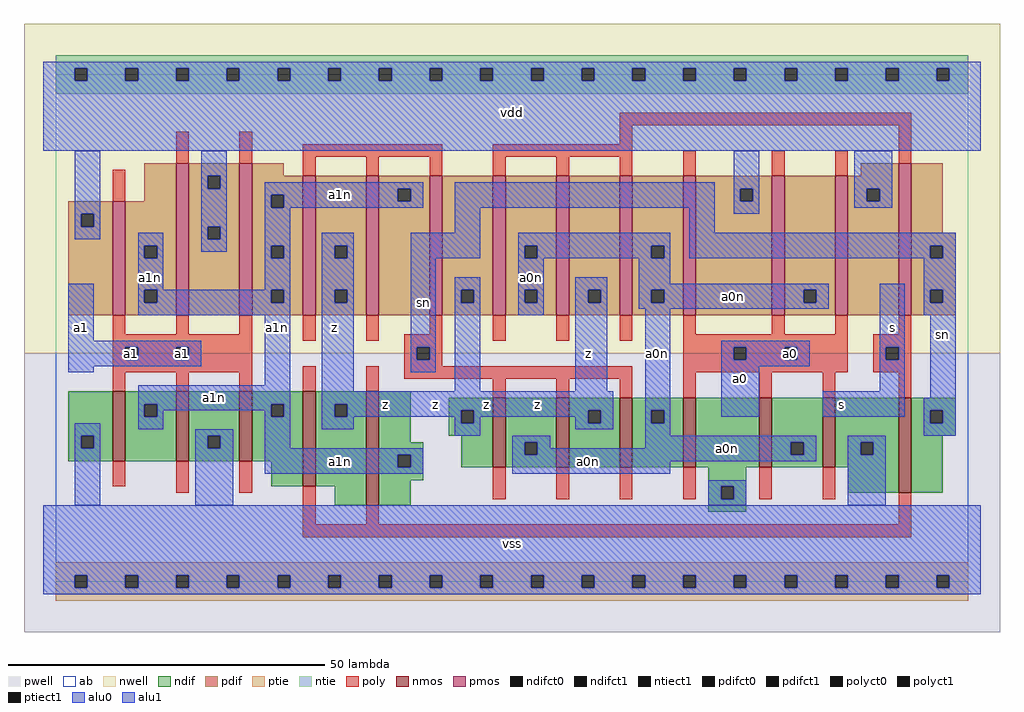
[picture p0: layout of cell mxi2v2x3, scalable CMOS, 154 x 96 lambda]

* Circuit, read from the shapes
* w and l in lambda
.subckt mxi2v2x3 a0 a0n a1 a1n s sn vdd vss z
M1 a1n a1 vss vss nfet w=11 l=2 m=3
M2 z s a1n vss nfet w=15 l=2
M3 a1n s z vss nfet w=18 l=2
M4 a0n sn z vss nfet w=11 l=2 m=3
M5 vss a0 a0n vss nfet w=11 l=2 m=3
M6 sn s vss vss nfet w=15 l=2
M7 a1n a1 vdd vdd pfet w=18 l=2
M8 vdd a1 a1n vdd pfet w=24 l=2 m=2
M9 z sn a1n vdd pfet w=22 l=2 m=3
M10 a0n s z vdd pfet w=22 l=2 m=3
M11 vdd a0 a0n vdd pfet w=22 l=2 m=3
M12 sn s vdd vdd pfet w=24 l=2
.ends

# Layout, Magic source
magic
tech scmos
<< ab >>
rect 0 0 144 80
<< nwell >>
rect -5 36 149 88
<< pwell >>
rect -5 -8 149 36
<< poly >>
rect 89 72 135 74
rect 19 66 21 71
rect 29 66 31 71
rect 89 69 91 72
rect 39 67 61 69
rect 9 60 11 65
rect 39 64 41 67
rect 49 64 51 67
rect 59 64 61 67
rect 69 67 91 69
rect 69 64 71 67
rect 79 64 81 67
rect 89 64 91 67
rect 99 64 101 68
rect 113 64 115 68
rect 123 64 125 68
rect 133 66 135 72
rect 9 39 11 42
rect 19 39 21 42
rect 29 39 31 42
rect 9 37 31 39
rect 39 38 41 42
rect 49 38 51 42
rect 59 39 61 42
rect 9 35 11 37
rect 13 35 19 37
rect 21 35 31 37
rect 9 33 31 35
rect 55 37 61 39
rect 69 38 71 42
rect 79 38 81 42
rect 89 38 91 42
rect 99 39 101 42
rect 113 39 115 42
rect 123 39 125 42
rect 133 39 135 42
rect 55 35 57 37
rect 59 35 61 37
rect 55 34 61 35
rect 99 37 125 39
rect 99 35 107 37
rect 109 35 115 37
rect 117 35 125 37
rect 9 30 11 33
rect 19 30 21 33
rect 29 30 31 33
rect 39 30 41 34
rect 49 30 51 34
rect 55 32 91 34
rect 9 15 11 19
rect 19 14 21 19
rect 29 14 31 19
rect 39 9 41 15
rect 69 29 71 32
rect 79 29 81 32
rect 89 29 91 32
rect 99 33 125 35
rect 129 37 135 39
rect 129 35 131 37
rect 133 35 135 37
rect 129 33 135 35
rect 99 29 101 33
rect 111 29 113 33
rect 121 29 123 33
rect 133 29 135 33
rect 69 13 71 18
rect 79 13 81 18
rect 89 13 91 18
rect 99 13 101 18
rect 111 13 113 18
rect 121 13 123 18
rect 49 9 51 12
rect 133 9 135 14
rect 39 7 135 9
<< ndif >>
rect 2 23 9 30
rect 2 21 4 23
rect 6 21 9 23
rect 2 19 9 21
rect 11 28 19 30
rect 11 26 14 28
rect 16 26 19 28
rect 11 19 19 26
rect 21 23 29 30
rect 21 21 24 23
rect 26 21 29 23
rect 21 19 29 21
rect 31 28 39 30
rect 31 26 34 28
rect 36 26 39 28
rect 31 19 39 26
rect 34 15 39 19
rect 41 28 49 30
rect 41 26 44 28
rect 46 26 49 28
rect 41 15 49 26
rect 44 12 49 15
rect 51 22 56 30
rect 62 27 69 29
rect 62 25 64 27
rect 66 25 69 27
rect 62 23 69 25
rect 51 20 58 22
rect 51 18 54 20
rect 56 18 58 20
rect 64 18 69 23
rect 71 22 79 29
rect 71 20 74 22
rect 76 20 79 22
rect 71 18 79 20
rect 81 27 89 29
rect 81 25 84 27
rect 86 25 89 27
rect 81 18 89 25
rect 91 27 99 29
rect 91 25 94 27
rect 96 25 99 27
rect 91 18 99 25
rect 101 18 111 29
rect 113 22 121 29
rect 113 20 116 22
rect 118 20 121 22
rect 113 18 121 20
rect 123 22 133 29
rect 123 20 127 22
rect 129 20 133 22
rect 123 18 133 20
rect 51 16 58 18
rect 51 12 56 16
rect 103 15 109 18
rect 103 13 105 15
rect 107 13 109 15
rect 125 14 133 18
rect 135 27 142 29
rect 135 25 138 27
rect 140 25 142 27
rect 135 23 142 25
rect 135 14 140 23
rect 103 11 109 13
<< pdif >>
rect 14 60 19 66
rect 2 58 9 60
rect 2 56 4 58
rect 6 56 9 58
rect 2 42 9 56
rect 11 53 19 60
rect 11 51 14 53
rect 16 51 19 53
rect 11 46 19 51
rect 11 44 14 46
rect 16 44 19 46
rect 11 42 19 44
rect 21 64 29 66
rect 21 62 24 64
rect 26 62 29 64
rect 21 56 29 62
rect 21 54 24 56
rect 26 54 29 56
rect 21 42 29 54
rect 31 64 36 66
rect 127 64 133 66
rect 31 61 39 64
rect 31 59 34 61
rect 36 59 39 61
rect 31 53 39 59
rect 31 51 34 53
rect 36 51 39 53
rect 31 46 39 51
rect 31 44 34 46
rect 36 44 39 46
rect 31 42 39 44
rect 41 53 49 64
rect 41 51 44 53
rect 46 51 49 53
rect 41 46 49 51
rect 41 44 44 46
rect 46 44 49 46
rect 41 42 49 44
rect 51 62 59 64
rect 51 60 54 62
rect 56 60 59 62
rect 51 42 59 60
rect 61 46 69 64
rect 61 44 64 46
rect 66 44 69 46
rect 61 42 69 44
rect 71 53 79 64
rect 71 51 74 53
rect 76 51 79 53
rect 71 46 79 51
rect 71 44 74 46
rect 76 44 79 46
rect 71 42 79 44
rect 81 46 89 64
rect 81 44 84 46
rect 86 44 89 46
rect 81 42 89 44
rect 91 53 99 64
rect 91 51 94 53
rect 96 51 99 53
rect 91 46 99 51
rect 91 44 94 46
rect 96 44 99 46
rect 91 42 99 44
rect 101 62 113 64
rect 101 60 108 62
rect 110 60 113 62
rect 101 42 113 60
rect 115 46 123 64
rect 115 44 118 46
rect 120 44 123 46
rect 115 42 123 44
rect 125 62 133 64
rect 125 60 128 62
rect 130 60 133 62
rect 125 42 133 60
rect 135 55 140 66
rect 135 53 142 55
rect 135 51 138 53
rect 140 51 142 53
rect 135 46 142 51
rect 135 44 138 46
rect 140 44 142 46
rect 135 42 142 44
<< alu1 >>
rect -2 81 146 82
rect -2 79 3 81
rect 5 79 11 81
rect 13 79 19 81
rect 21 79 27 81
rect 29 79 35 81
rect 37 79 43 81
rect 45 79 51 81
rect 53 79 59 81
rect 61 79 67 81
rect 69 79 75 81
rect 77 79 83 81
rect 85 79 91 81
rect 93 79 99 81
rect 101 79 107 81
rect 109 79 115 81
rect 117 79 123 81
rect 125 79 131 81
rect 133 79 139 81
rect 141 79 146 81
rect -2 68 146 79
rect 2 38 6 47
rect 2 37 23 38
rect 2 35 11 37
rect 13 35 19 37
rect 21 35 23 37
rect 2 34 23 35
rect 2 33 6 34
rect 42 53 47 55
rect 42 51 44 53
rect 46 51 47 53
rect 42 46 47 51
rect 42 44 44 46
rect 46 44 47 46
rect 42 30 47 44
rect 63 46 67 48
rect 63 44 64 46
rect 66 44 67 46
rect 63 30 67 44
rect 82 46 87 48
rect 82 44 84 46
rect 86 44 87 46
rect 82 30 87 44
rect 42 28 88 30
rect 42 26 44 28
rect 46 27 88 28
rect 46 26 64 27
rect 42 24 47 26
rect 63 25 64 26
rect 66 26 84 27
rect 66 25 67 26
rect 63 23 67 25
rect 82 25 84 26
rect 86 25 88 27
rect 82 24 88 25
rect 105 37 119 38
rect 105 35 107 37
rect 109 35 115 37
rect 117 35 119 37
rect 105 34 119 35
rect 130 37 134 47
rect 130 35 131 37
rect 133 35 134 37
rect 105 26 111 34
rect 130 30 134 35
rect 121 26 134 30
rect -2 1 146 12
rect -2 -1 3 1
rect 5 -1 11 1
rect 13 -1 19 1
rect 21 -1 27 1
rect 29 -1 35 1
rect 37 -1 43 1
rect 45 -1 51 1
rect 53 -1 59 1
rect 61 -1 67 1
rect 69 -1 75 1
rect 77 -1 83 1
rect 85 -1 91 1
rect 93 -1 99 1
rect 101 -1 107 1
rect 109 -1 115 1
rect 117 -1 123 1
rect 125 -1 131 1
rect 133 -1 139 1
rect 141 -1 146 1
rect -2 -2 146 -1
<< ptie >>
rect 0 1 144 3
rect 0 -1 3 1
rect 5 -1 11 1
rect 13 -1 19 1
rect 21 -1 27 1
rect 29 -1 35 1
rect 37 -1 43 1
rect 45 -1 51 1
rect 53 -1 59 1
rect 61 -1 67 1
rect 69 -1 75 1
rect 77 -1 83 1
rect 85 -1 91 1
rect 93 -1 99 1
rect 101 -1 107 1
rect 109 -1 115 1
rect 117 -1 123 1
rect 125 -1 131 1
rect 133 -1 139 1
rect 141 -1 144 1
rect 0 -3 144 -1
<< ntie >>
rect 0 81 144 83
rect 0 79 3 81
rect 5 79 11 81
rect 13 79 19 81
rect 21 79 27 81
rect 29 79 35 81
rect 37 79 43 81
rect 45 79 51 81
rect 53 79 59 81
rect 61 79 67 81
rect 69 79 75 81
rect 77 79 83 81
rect 85 79 91 81
rect 93 79 99 81
rect 101 79 107 81
rect 109 79 115 81
rect 117 79 123 81
rect 125 79 131 81
rect 133 79 139 81
rect 141 79 144 81
rect 0 77 144 79
<< nmos >>
rect 9 19 11 30
rect 19 19 21 30
rect 29 19 31 30
rect 39 15 41 30
rect 49 12 51 30
rect 69 18 71 29
rect 79 18 81 29
rect 89 18 91 29
rect 99 18 101 29
rect 111 18 113 29
rect 121 18 123 29
rect 133 14 135 29
<< pmos >>
rect 9 42 11 60
rect 19 42 21 66
rect 29 42 31 66
rect 39 42 41 64
rect 49 42 51 64
rect 59 42 61 64
rect 69 42 71 64
rect 79 42 81 64
rect 89 42 91 64
rect 99 42 101 64
rect 113 42 115 64
rect 123 42 125 64
rect 133 42 135 66
<< polyct0 >>
rect 57 35 59 37
<< polyct1 >>
rect 11 35 13 37
rect 19 35 21 37
rect 107 35 109 37
rect 115 35 117 37
rect 131 35 133 37
<< ndifct0 >>
rect 4 21 6 23
rect 14 26 16 28
rect 24 21 26 23
rect 34 26 36 28
rect 54 18 56 20
rect 74 20 76 22
rect 94 25 96 27
rect 116 20 118 22
rect 127 20 129 22
rect 105 13 107 15
rect 138 25 140 27
<< ndifct1 >>
rect 44 26 46 28
rect 64 25 66 27
rect 84 25 86 27
<< ntiect1 >>
rect 3 79 5 81
rect 11 79 13 81
rect 19 79 21 81
rect 27 79 29 81
rect 35 79 37 81
rect 43 79 45 81
rect 51 79 53 81
rect 59 79 61 81
rect 67 79 69 81
rect 75 79 77 81
rect 83 79 85 81
rect 91 79 93 81
rect 99 79 101 81
rect 107 79 109 81
rect 115 79 117 81
rect 123 79 125 81
rect 131 79 133 81
rect 139 79 141 81
<< ptiect1 >>
rect 3 -1 5 1
rect 11 -1 13 1
rect 19 -1 21 1
rect 27 -1 29 1
rect 35 -1 37 1
rect 43 -1 45 1
rect 51 -1 53 1
rect 59 -1 61 1
rect 67 -1 69 1
rect 75 -1 77 1
rect 83 -1 85 1
rect 91 -1 93 1
rect 99 -1 101 1
rect 107 -1 109 1
rect 115 -1 117 1
rect 123 -1 125 1
rect 131 -1 133 1
rect 139 -1 141 1
<< pdifct0 >>
rect 4 56 6 58
rect 14 51 16 53
rect 14 44 16 46
rect 24 62 26 64
rect 24 54 26 56
rect 34 59 36 61
rect 34 51 36 53
rect 34 44 36 46
rect 54 60 56 62
rect 74 51 76 53
rect 74 44 76 46
rect 94 51 96 53
rect 94 44 96 46
rect 108 60 110 62
rect 118 44 120 46
rect 128 60 130 62
rect 138 51 140 53
rect 138 44 140 46
<< pdifct1 >>
rect 44 51 46 53
rect 44 44 46 46
rect 64 44 66 46
rect 84 44 86 46
<< alu0 >>
rect 3 58 7 68
rect 3 56 4 58
rect 6 56 7 58
rect 3 54 7 56
rect 23 64 27 68
rect 23 62 24 64
rect 26 62 27 64
rect 23 56 27 62
rect 13 53 17 55
rect 13 51 14 53
rect 16 51 17 53
rect 23 54 24 56
rect 26 54 27 56
rect 23 52 27 54
rect 33 62 58 63
rect 33 61 54 62
rect 33 59 34 61
rect 36 60 54 61
rect 56 60 58 62
rect 36 59 58 60
rect 63 59 104 63
rect 33 53 37 59
rect 63 55 67 59
rect 100 55 104 59
rect 107 62 111 68
rect 107 60 108 62
rect 110 60 111 62
rect 107 58 111 60
rect 126 62 132 68
rect 126 60 128 62
rect 130 60 132 62
rect 126 59 132 60
rect 13 46 17 51
rect 33 51 34 53
rect 36 51 37 53
rect 33 46 37 51
rect 13 44 14 46
rect 16 44 34 46
rect 36 44 37 46
rect 13 42 37 44
rect 33 31 37 42
rect 13 28 37 31
rect 13 26 14 28
rect 16 27 34 28
rect 16 26 17 27
rect 3 23 7 25
rect 13 24 17 26
rect 33 26 34 27
rect 36 26 37 28
rect 3 21 4 23
rect 6 21 7 23
rect 3 12 7 21
rect 22 23 28 24
rect 22 21 24 23
rect 26 21 28 23
rect 22 12 28 21
rect 33 21 37 26
rect 56 51 67 55
rect 73 53 97 55
rect 73 51 74 53
rect 76 51 94 53
rect 96 51 97 53
rect 100 53 142 55
rect 100 51 138 53
rect 140 51 142 53
rect 56 37 60 51
rect 56 35 57 37
rect 59 35 60 37
rect 56 33 60 35
rect 73 46 77 51
rect 73 44 74 46
rect 76 44 77 46
rect 73 42 77 44
rect 92 47 97 51
rect 92 46 122 47
rect 92 44 94 46
rect 96 44 118 46
rect 120 44 122 46
rect 92 43 122 44
rect 93 27 97 43
rect 93 25 94 27
rect 96 25 97 27
rect 137 46 142 51
rect 137 44 138 46
rect 140 44 142 46
rect 137 42 142 44
rect 138 29 142 42
rect 137 27 142 29
rect 93 23 97 25
rect 137 25 138 27
rect 140 25 142 27
rect 137 23 142 25
rect 72 22 78 23
rect 33 20 58 21
rect 33 18 54 20
rect 56 18 58 20
rect 33 17 58 18
rect 72 20 74 22
rect 76 21 78 22
rect 93 22 120 23
rect 93 21 116 22
rect 76 20 116 21
rect 118 20 120 22
rect 72 19 120 20
rect 125 22 131 23
rect 125 20 127 22
rect 129 20 131 22
rect 72 17 97 19
rect 103 15 109 16
rect 103 13 105 15
rect 107 13 109 15
rect 103 12 109 13
rect 125 12 131 20
<< labels >>
rlabel alu0 15 48 15 48 6 a1n
rlabel alu0 25 29 25 29 6 a1n
rlabel alu0 35 40 35 40 6 a1n
rlabel alu0 45 19 45 19 6 a1n
rlabel alu0 75 48 75 48 6 a0n
rlabel alu0 58 44 58 44 6 sn
rlabel alu0 45 61 45 61 6 a1n
rlabel alu0 84 19 84 19 6 a0n
rlabel alu0 95 36 95 36 6 a0n
rlabel alu0 106 21 106 21 6 a0n
rlabel alu0 107 45 107 45 6 a0n
rlabel alu0 140 39 140 39 6 sn
rlabel polyct1 12 36 12 36 6 a1
rlabel polyct1 20 36 20 36 6 a1
rlabel alu1 4 40 4 40 6 a1
rlabel alu1 52 28 52 28 6 z
rlabel alu1 60 28 60 28 6 z
rlabel alu1 68 28 68 28 6 z
rlabel alu1 44 40 44 40 6 z
rlabel alu1 72 6 72 6 6 vss
rlabel alu1 76 28 76 28 6 z
rlabel alu1 84 36 84 36 6 z
rlabel alu1 72 74 72 74 6 vdd
rlabel alu1 108 32 108 32 6 a0
rlabel alu1 124 28 124 28 6 s
rlabel polyct1 116 36 116 36 6 a0
rlabel alu1 132 40 132 40 6 s
<< end >>
